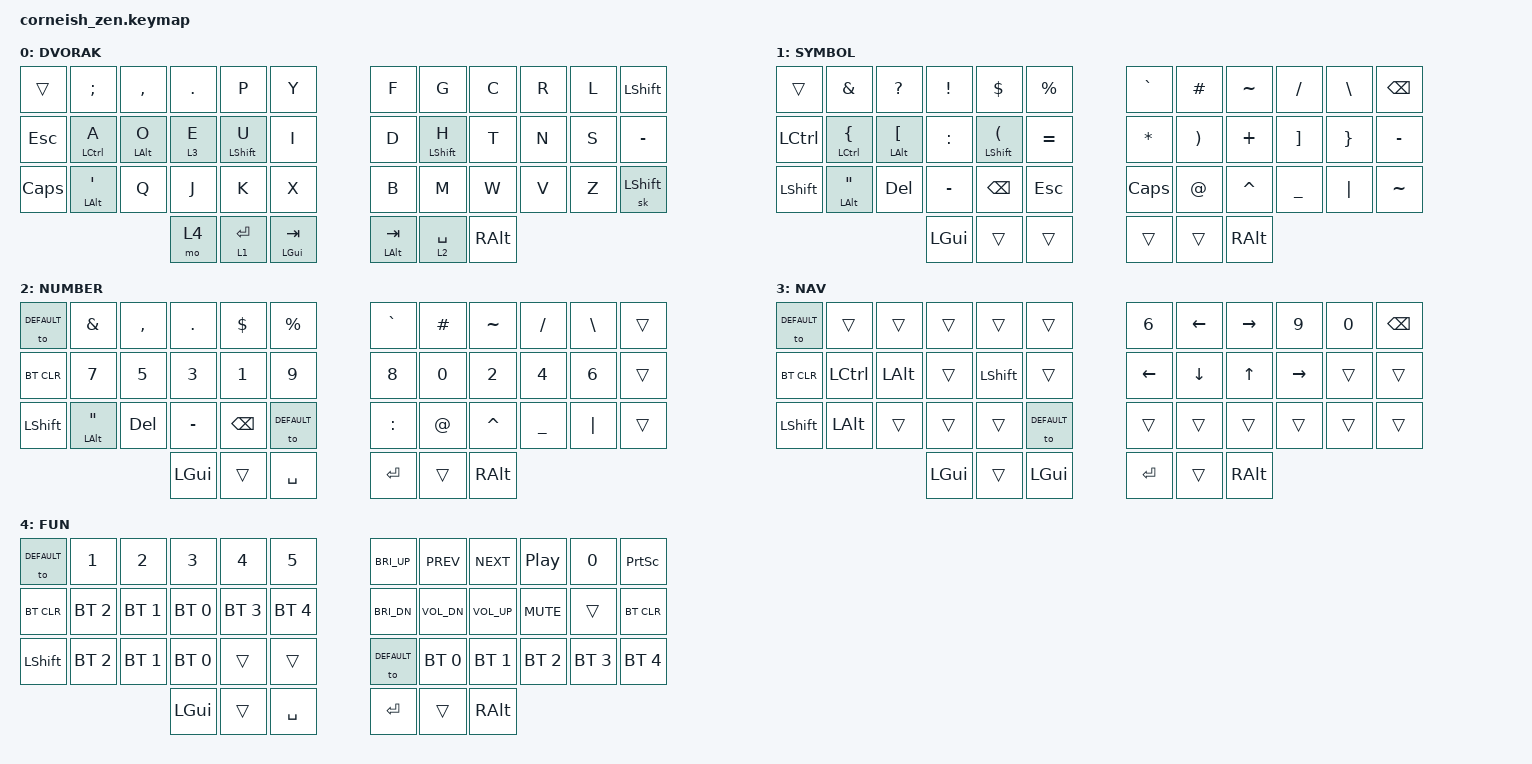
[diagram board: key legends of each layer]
#include <behaviors.dtsi>
#include <dt-bindings/zmk/keys.h>
#include <dt-bindings/zmk/bt.h>

#define DEFAULT 0
#define SYM     1
#define NUM     2
#define NAV     3
#define FUN     4

/ {
    chosen {
        zmk,physical-layout = &foostan_corne_6col_layout;
        // zmk,physical-layout = &foostan_corne_5col_layout;
    };
};

&sk {
    quick-release;
};

/ {
    macros {
        undo: undo {
            label = "UNDO";
            compatible = "zmk,behavior-macro";
            #binding-cells = <0>;
            bindings
                = <&macro_press &kp LGUI>
                , <&macro_tap &kp Z>
                , <&macro_release &kp LGUI>
                ;
        };
        flag: flag {
            label = "FLAG";
            compatible = "zmk,behavior-macro";
            #binding-cells = <0>;
            bindings
                = <&macro_press &kp LGUI>
                , <&macro_tap &kp N1>
                , <&macro_release &kp LGUI>
                ;
        };
    };
};

/ {
    behaviors {
        hm: homerow_mods {
            compatible = "zmk,behavior-hold-tap";
            label = "HOMEROW_MODS";
            #binding-cells = <2>;
            tapping-term-ms = <220>;
            quick-tap-ms = <0>;
            flavor = "tap-preferred";
            bindings = <&kp>, <&kp>;
        };
        
        bhm: balanced_homerow_mods {
            compatible = "zmk,behavior-hold-tap";
            label = "HOMEROW_MODS";
            #binding-cells = <2>;
            tapping-term-ms = <220>;    // <---[[moderate duration]]
            quick-tap-ms = <0>;
            flavor = "balanced";
            bindings = <&kp>, <&kp>;
        };
    };
    
        keymap {
                compatible = "zmk,keymap";

                default_layer {
                        label = "DVORAK";
// -----------------------------------------------------------------------------------------
// |      |  ;  |  ,  |  .  |  P  |  Y  |   |  F  |  G   |  C  |  R  |  L  | SHFT |
// | ESC  |  A  |  O  |  E  |  U  |  I  |   |  D  |  H   |  T  |  N  |  S  |  -   |
// | CAPS |  '  |  Q  |  J  |  K  |  X  |   |  B  |  M   |  W  |  V  |  Z  | SHFT*|
//                    | FUN | ENT | TAB |   | TAB | SPC  | ALT |
                        bindings = <
   &trans    &kp SEMI     &kp COMMA  &kp DOT &kp P       &kp Y          &kp F     &kp G       &kp C    &kp R &kp L &kp LSHIFT
   &kp ESC   &hm LCTRL A  &hm LALT O &lt 3 E &hm LSHFT U &kp I          &kp D     &hm LSHFT H &kp T    &kp N &kp S &kp MINUS
   &kp CAPS  &hm LALT SQT &kp Q      &kp J   &kp K       &kp X          &kp B     &kp M       &kp W    &kp V &kp Z &sk LSHIFT
                                     &mo 4   &lt 1 RET   &mt LGUI TAB   &mt LALT TAB &lt 2 SPACE &kp RALT
                        >;
                };

        raise_layer {
            display-name = "SYMBOL";
// -----------------------------------------------------------------------------------------
// |      |  &  |  ?  |  !   |  $   |  %  |   |  `  |  #  |  ~  |  /  |  \  | BKSP |
// | CTRL |  {  |  [  |  :   |  (   |  =  |   |  *  |  )  |  +  |  ]  |  }  |  -   |
// | SHFT |  "  | DEL |  -   | BKSP | ESC |   | CAPS|  @  |  ^  |  _  | "|" |  ~   |
//                    | GUI  |      |     |   |     |     | ALT |
                        bindings = <
   &trans    &kp AMPS       &kp QMARK     &kp EXCL  &kp DLLR       &kp PRCNT    &kp GRAVE &kp HASH &kp TILDE &kp FSLH  &kp BSLH &kp BSPC
   &kp LCTRL &hm LCTRL LBRC &hm LALT LBKT &kp COLON &hm LSHFT LPAR &kp EQUAL    &kp STAR  &kp RPAR &kp PLUS  &kp RBKT  &kp RBRC &kp MINUS
   &kp LSHFT &hm LALT DQT   &kp DELETE    &kp MINUS &kp BSPC       &kp ESC      &kp CAPS  &kp AT   &kp CARET &kp UNDER &kp PIPE &kp TILDE
                    	      &kp LGUI      &trans    &trans         &trans       &trans    &kp RALT
                        >;
                };
                
                lower_layer {
                        label = "NUMBER";
// -----------------------------------------------------------------------------------------
// | BASE |  &  |  ,  |  .  |  $  |  %   |   |  `  |  #  |  *  |  /  |  \  | BKSP |
// | BTCLR|  7  |  5  |  3  |  1  |  9   |   |  8  |  0  |  2  |  4  |  6  |      |
// | SHFT |  "  |     |  -  |     | BASE |   |  :  |     |     |     |     |      |
//                    | GUI |     | SPC  |   | ENT |     | ALT |
                        bindings = <
   &to DEFAULT &kp AMPS     &kp COMMA  &kp DOT   &kp DLLR &kp PRCNT    &kp GRAVE &kp HASH &kp TILDE &kp FSLH  &kp BSLH &trans
   &bt BT_CLR  &kp N7       &kp N5     &kp N3    &kp N1   &kp N9       &kp N8    &kp N0   &kp N2    &kp N4    &kp N6   &trans
   &kp LSHFT   &hm LALT DQT &kp DELETE &kp MINUS &kp BSPC &to DEFAULT  &kp COLON &kp AT   &kp CARET &kp UNDER &kp PIPE &trans
                          	           &kp LGUI  &trans   &kp SPACE    &kp RET   &trans &kp RALT
                        >;
                };

                nav_layer {
                        label = "NAV";
// -----------------------------------------------------------------------------------------
// | BASE |  1  |  2  |  3  |  4  |  5   |   |  6  | LFT | RGT |  9  |  0  | BKSP |
// | BTCLR| CTL | ALT |     | SFT |      |   | LFT | DWN |  UP | RGT |     |      |
// | SHFT | BT3 | BT2 | BT1 |     | BASE |   |     |     |     |     |     |      |
//                    | GUI |     | SPC  |   | ENT |     | ALT |
                        bindings = <
   &to DEFAULT &trans    &trans   &trans   &trans    &trans       &kp N6   &kp LEFT &kp RIGHT &kp N9    &kp N0 &kp BSPC
   &bt BT_CLR  &kp LCTRL &kp LALT &trans   &kp LSHFT &trans       &kp LEFT &kp DOWN &kp UP    &kp RIGHT &trans &trans
   &kp LSHFT   &kp LALT  &trans   &trans   &trans    &to DEFAULT  &trans   &trans   &trans    &trans    &trans &trans

                          	     &kp LGUI &trans    &kp LGUI    &kp RET  &trans   &kp RALT
                        >;
                };

                fun_layer {
                        label = "FUN";
// -----------------------------------------------------------------------------------------
// | BASE |  1  |  2  |  3  |  4  |  5   |   | BR+ | PRV | NXT | PLY |  0  | PSCRN |
// | BTCLR| BT3 | BT2 | BT1 | BT4 | BT5  |   | BR- | V-  | V+  | MUT |     | BTCLR |
// | SHFT | BT3 | BT2 | BT1 |     | BASE |   |     | BT1 | BT2 | BT3 | BT4 | BT5   |
//                    | GUI |     | SPC  |   | ENT |     | ALT |
                        bindings = <
   &to DEFAULT &kp N1       &kp N2       &kp N3       &kp N4       &kp N5        &kp C_BRI_UP &kp C_PREV   &kp C_NEXT   &kp C_PP     &kp N0       &kp PSCRN
   &bt BT_CLR  &bt BT_SEL 2 &bt BT_SEL 1 &bt BT_SEL 0 &bt BT_SEL 3 &bt BT_SEL 4  &kp C_BRI_DN &kp C_VOL_DN &kp C_VOL_UP &kp C_MUTE   &trans       &bt BT_CLR
   &kp LSHFT   &bt BT_SEL 2 &bt BT_SEL 1 &bt BT_SEL 0 &trans       &trans        &to DEFAULT &bt BT_SEL 0 &bt BT_SEL 1 &bt BT_SEL 2 &bt BT_SEL 3 &bt BT_SEL 4
                          	        &kp LGUI     &trans       &kp SPACE      &kp RET  &trans   &kp RALT
                        >;
                };
        };
    };
};
